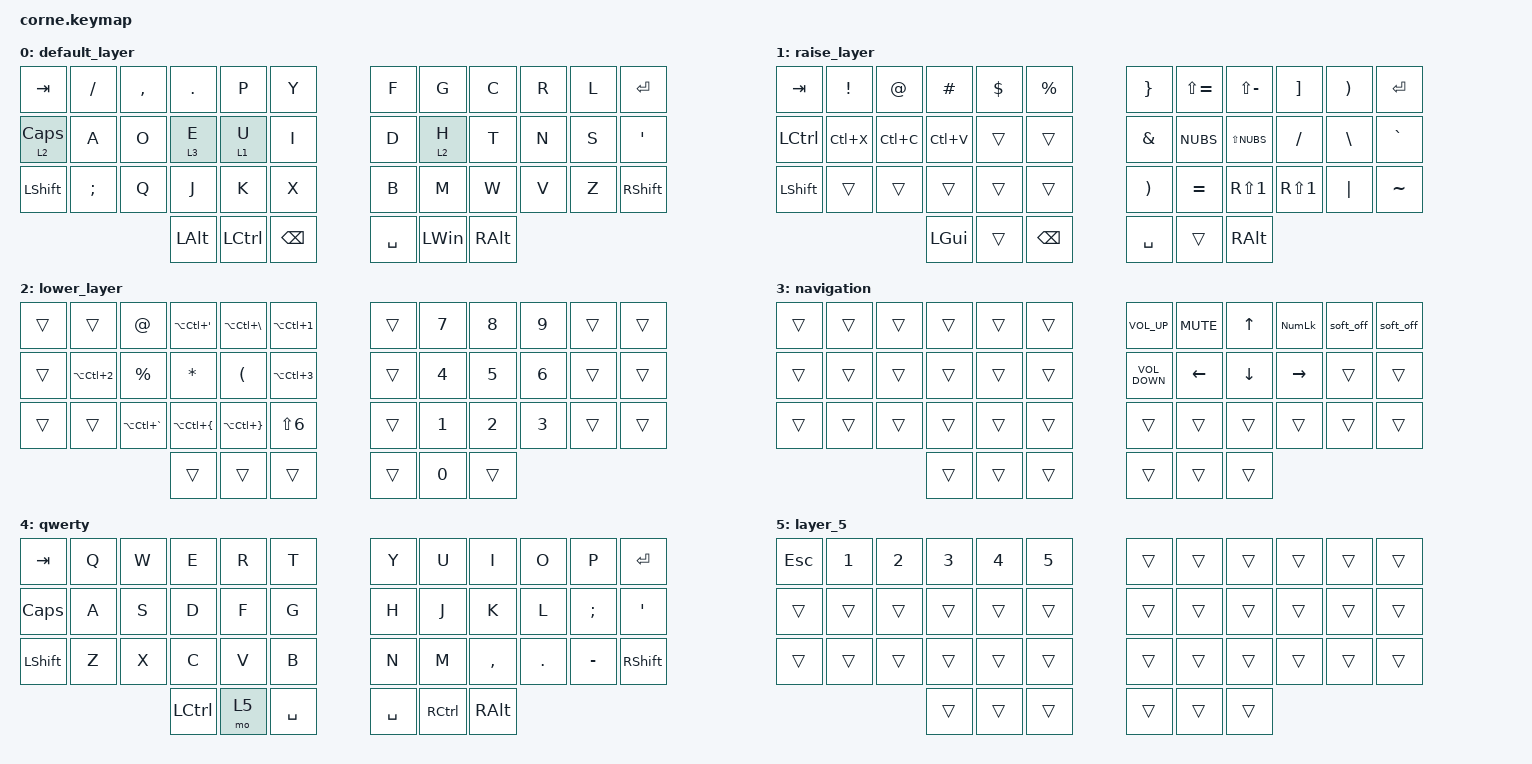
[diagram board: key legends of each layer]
/*
 * Copyright (c) 2020 The ZMK Contributors
 *
 * SPDX-License-Identifier: MIT
 */

#include <behaviors.dtsi>
#include <dt-bindings/zmk/keys.h>

&mt { tapping-term-ms = <400>; };

/ {
    combos {
        compatible = "zmk,combos";

        Change_to_qwerty {
            bindings = <&tog 4>;
            key-positions = <17 18>;
        };
    };

    keymap {
        compatible = "zmk,keymap";

        default_layer {
            // -----------------------------------------------------------------------------------------
            // |TAB:ESC   | ; : | , < | . > |  P  |  Y  |         | F   |  G   |  C  |  R  |  L  | BKSP |
            // | CTRL     |  A  |  O  |  E  |  U  |  I  |         |  D  |  H   |  T  |  N  |  S  |  DEL |
            // | LSFT:CAP |' "  | q @ | J   | K   |  X  |         |  B  |  M   |  W  |  V  |  Z  | TAB  |
            //                        | GUI | LWR | SPC |         | ENT | RSE  | ALT |

            bindings = <
&kp TAB         &kp FSLH  &kp COMMA  &kp DOT   &kp P             &kp Y            &kp F      &kp G         &kp C     &kp R  &kp L  &kp RET
&lt 2 CAPSLOCK  &kp A     &kp O      &lt 3 E   &lt 1 U           &kp I            &kp D      &lt 2 H       &kp T     &kp N  &kp S  &kp SQT
&kp LSHFT       &kp SEMI  &kp Q      &kp J     &kp K             &kp X            &kp B      &kp M         &kp W     &kp V  &kp Z  &kp RSHIFT
                                     &kp LALT  &kp LEFT_CONTROL  &kp BACKSPACE    &kp SPACE  &kp LEFT_WIN  &kp RALT
            >;
        };

        raise_layer {
            // -----------------------------------------------------------------------------------------
            // |  TAB |  !  |  @  |  #  |  $  |  %  |   |  ^  |  &  |  *  |  (  |  )  | BSPC |
            // | CTRL |     |     |     |     |     |   |  -  |  =  |  [  |  ]  |  \  |  `   |
            // | SHFT |     |     |     |     |     |   |  _  |  +  |  {  |  }  | "|" |  ~   |
            //                    | GUI |     | SPC |   | ENT |     | ALT |

            bindings = <
&kp TAB    &kp EXCL   &kp AT     &kp HASH   &kp DLLR  &kp PRCNT        &kp RIGHT_BRACE        &kp LS(EQUAL)  &kp LS(MINUS)     &kp RIGHT_BRACKET  &kp RPAR  &kp RET
&kp LCTRL  &kp LC(X)  &kp LC(C)  &kp LC(V)  &trans    &trans           &kp AMPERSAND          &kp NUBS       &kp LS(NUBS)      &kp SLASH          &kp BSLH  &kp GRAVE
&kp LSHFT  &trans     &trans     &trans     &trans    &trans           &kp RIGHT_PARENTHESIS  &kp EQUAL      &kp RS(NUMBER_1)  &kp RS(NUMBER_1)   &kp PIPE  &kp TILDE
                                 &kp LGUI   &trans    &kp BACKSPACE    &kp SPACE              &trans         &kp RALT
            >;
        };

        lower_layer {
            // -----------------------------------------------------------------------------------------
            // |  TAB |  1  |  2  |  3  |  4  |  5  |   |  6  |  7  |  8  |  9  |  0  | BSPC |
            // | BTCLR| BT1 | BT2 | BT3 | BT4 | BT5 |   | LFT | DWN |  UP | RGT |     |      |
            // | SHFT |     |     |     |     |     |   |     |     |     |     |     |      |
            //                    | GUI |     | SPC |   | ENT |     | ALT |

            bindings = <
&trans  &trans                &kp AT             &kp LA(LC(SINGLE_QUOTE))  &kp LA(LC(BACKSLASH))  &kp LA(LC(NUMBER_1))    &trans  &kp N7        &kp N8        &kp N9        &trans  &trans
&trans  &kp LA(LC(NUMBER_2))  &kp PERCENT        &kp ASTRK                 &kp LEFT_PARENTHESIS   &kp LA(LC(NUMBER_3))    &trans  &kp N4        &kp N5        &kp NUMBER_6  &trans  &trans
&trans  &trans                &kp LA(LC(GRAVE))  &kp LA(LC(LEFT_BRACE))    &kp LA(LC(RBRC))       &kp LS(NUMBER_6)        &trans  &kp NUMBER_1  &kp NUMBER_2  &kp NUMBER_3  &trans  &trans
                                                 &trans                    &trans                 &trans                  &trans  &kp N0        &trans
            >;
        };

        navigation {
            bindings = <
&trans  &trans  &trans  &trans  &trans  &trans    &kp C_VOLUME_UP    &kp K_MUTE  &kp UP_ARROW  &kp KP_NUMLOCK  &soft_off  &soft_off
&trans  &trans  &trans  &trans  &trans  &trans    &kp C_VOLUME_DOWN  &kp LEFT    &kp DOWN      &kp RIGHT       &trans     &trans
&trans  &trans  &trans  &trans  &trans  &trans    &trans             &trans      &trans        &trans          &trans     &trans
                        &trans  &trans  &trans    &trans             &trans      &trans
            >;
        };

        qwerty {
            bindings = <
&kp TAB    &kp Q  &kp W  &kp E      &kp R  &kp T        &kp Y      &kp U      &kp I      &kp O    &kp P      &kp ENTER
&kp CAPS   &kp A  &kp S  &kp D      &kp F  &kp G        &kp H      &kp J      &kp K      &kp L    &kp SEMI   &kp APOS
&kp LSHFT  &kp Z  &kp X  &kp C      &kp V  &kp B        &kp N      &kp M      &kp COMMA  &kp DOT  &kp MINUS  &kp RSHFT
                         &kp LCTRL  &mo 5  &kp SPACE    &kp SPACE  &kp RCTRL  &kp RALT
            >;
        };

        layer_5 {
            bindings = <
&kp ESC  &kp NUMBER_1  &kp NUMBER_2  &kp NUMBER_3  &kp NUMBER_4  &kp N5    &trans  &trans  &trans  &trans  &trans  &trans
&trans   &trans        &trans        &trans        &trans        &trans    &trans  &trans  &trans  &trans  &trans  &trans
&trans   &trans        &trans        &trans        &trans        &trans    &trans  &trans  &trans  &trans  &trans  &trans
                                     &trans        &trans        &trans    &trans  &trans  &trans
            >;
        };
    };
};
